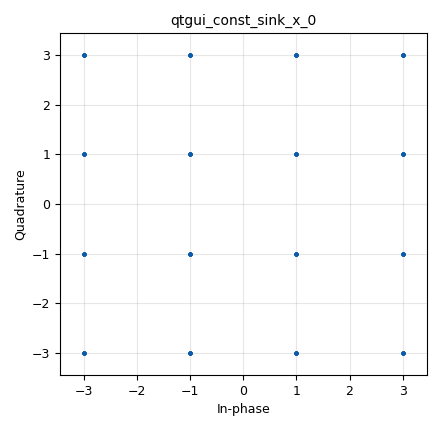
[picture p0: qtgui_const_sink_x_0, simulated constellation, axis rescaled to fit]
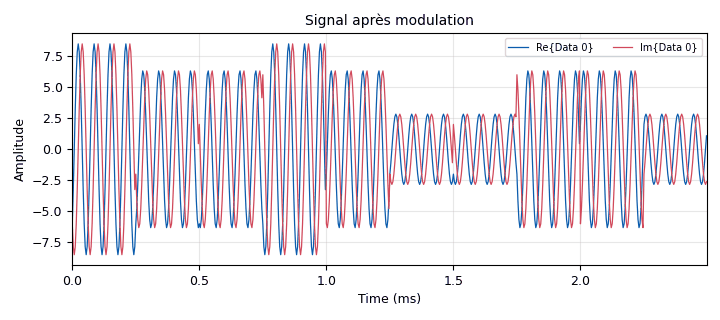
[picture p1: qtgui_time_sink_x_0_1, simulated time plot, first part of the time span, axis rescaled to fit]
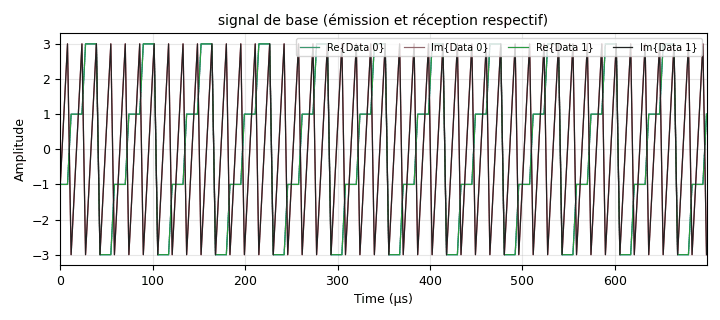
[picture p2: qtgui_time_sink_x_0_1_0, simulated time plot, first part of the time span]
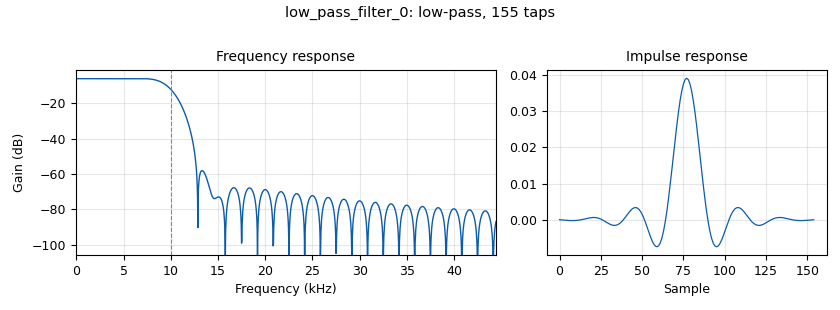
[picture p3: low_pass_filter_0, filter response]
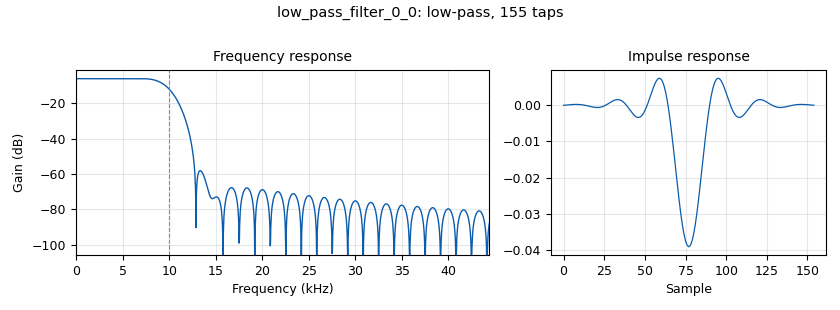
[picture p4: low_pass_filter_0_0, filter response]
options:
  parameters:
    generate_options: qt_gui
    id: QPSK
    output_language: python
    title: Not titled yet
  states: {}

blocks:
- name: Fc
  id: variable
  parameters:
    value: '16000'
  states: {}
- name: Fs
  id: variable
  parameters:
    value: 4 * Fc
  states: {}
- name: Rb
  id: variable
  parameters:
    value: '16000'
  states: {}
- name: samp_rate
  id: variable
  parameters:
    value: '256000'
  states: {}
- name: symbol_rate
  id: variable
  parameters:
    value: Rb / 4
  states: {}
- name: analog_sig_source_x_0
  id: analog_sig_source_x
  parameters:
    amp: '2'
    freq: Fc
    offset: '0'
    phase: '0'
    samp_rate: samp_rate
    type: complex
    waveform: analog.GR_COS_WAVE
  states: {}
- name: blocks_complex_to_float_0
  id: blocks_complex_to_float
  parameters: {}
  states: {}
- name: blocks_complex_to_float_2
  id: blocks_complex_to_float
  parameters: {}
  states: {}
- name: blocks_delay_0
  id: blocks_delay
  parameters:
    delay: '78'
    type: complex
  states: {}
- name: blocks_float_to_complex_0
  id: blocks_float_to_complex
  parameters: {}
  states: {}
- name: blocks_keep_one_in_n_0
  id: blocks_keep_one_in_n
  parameters:
    n: '64'
    type: complex
  states: {}
- name: blocks_keep_one_in_n_0_0
  id: blocks_keep_one_in_n
  parameters:
    n: '64'
    type: complex
  states: {}
- name: blocks_multiply_xx_0_1
  id: blocks_multiply_xx
  parameters:
    type: complex
  states: {}
- name: blocks_multiply_xx_0_1_0
  id: blocks_multiply_xx
  parameters:
    type: float
  states: {}
- name: blocks_multiply_xx_0_1_0_0
  id: blocks_multiply_xx
  parameters:
    type: float
  states: {}
- name: blocks_repeat_0
  id: blocks_repeat
  parameters:
    interp: int(samp_rate/symbol_rate)
    type: complex
  states: {}
- name: blocks_throttle2_0_0_1
  id: blocks_throttle2
  parameters:
    samples_per_second: samp_rate
    type: complex
  states: {}
- name: blocks_vector_source_x_0
  id: blocks_vector_source_x
  parameters:
    repeat: 'True'
    type: byte
    vector: list(range(16))
  states: {}
- name: epy_block_1
  id: epy_block
  parameters:
    _source_code: |-
      import numpy as np
      from gnuradio import gr

      class blk(gr.sync_block):
          def __init__(self):
              gr.sync_block.__init__(
                  self,
                  name='Mapping 16QAM',
                  in_sig=[np.uint8],
                  out_sig=[np.complex64],
              )
              niveaux = [-3, -1, 1, 3]
              # Table de 16 symboles complexes : I + jQ
              self.symboles = np.array(
                  [complex(i, q) for i in niveaux for q in niveaux],
                  dtype=np.complex64
              )

          def work(self, input_items, output_items):
              entiers = input_items[0]
              sortie = output_items[0]

              # Mapping vectorisé : chaque entier (0 à 15) indexe la table
              sortie[:] = self.symboles[entiers]

              return len(sortie)
  states: {}
- name: epy_block_1_0
  id: epy_block
  parameters:
    _source_code: |-
      import numpy as np
      from gnuradio import gr

      class blk(gr.sync_block):
          def __init__(self):
              gr.sync_block.__init__(
                  self,
                  name='16 QAM symbole plus proche',
                  in_sig=[np.complex64],
                  out_sig=[np.complex64],
              )
              niveaux = [-3, -1, 1, 3]   # même liste que le mapping
              self.symboles = np.array(
                  [complex(i, q) for i in niveaux for q in niveaux],
                  dtype=np.complex64
              )

          def work(self, input_items, output_items):
              x = input_items[0]
              d = np.abs(x[:, None] - self.symboles[None, :])
              output_items[0][:] = self.symboles[np.argmin(d, axis=1)]
              return len(output_items[0])
  states: {}
- name: low_pass_filter_0
  id: low_pass_filter
  parameters:
    cutoff_freq: '10000'
    gain: '0.5'
    interp: '1'
    samp_rate: samp_rate
    type: interp_fir_filter_fff
    width: '4000'
    win: window.WIN_HAMMING
  states: {}
- name: low_pass_filter_0_0
  id: low_pass_filter
  parameters:
    cutoff_freq: '10000'
    gain: '-0.5'
    interp: '1'
    samp_rate: samp_rate
    type: interp_fir_filter_fff
    width: '4000'
    win: window.WIN_HAMMING
  states: {}
- name: note_0
  id: note
  parameters:
    note: 4 périodes par symbole
  states: {}
- name: note_0_0
  id: note
  parameters:
    note: symbol_rate < Fc*2
  states: {}
- name: note_0_0_0
  id: note
  parameters:
    note: Rb = log2(2^M) * symbol_rate
  states: {}
- name: note_0_2
  id: note
  parameters:
    note: Fs > 2 * Fc
  states: {}
- name: qtgui_const_sink_x_0
  id: qtgui_const_sink_x
  parameters:
    size: '1024'
    type: complex
  states: {}
- name: qtgui_time_sink_x_0_1
  id: qtgui_time_sink_x
  parameters:
    name: Signal après modulation
    size: '8192'
    srate: samp_rate
    type: complex
    ymax: '2'
    ymin: '-2'
  states: {}
- name: qtgui_time_sink_x_0_1_0
  id: qtgui_time_sink_x
  parameters:
    autoscale: 'True'
    name: signal de base (émission et réception respectif)
    nconnections: '2'
    size: '8192'
    srate: samp_rate
    type: complex
    update_time: '1'
    ymax: '2'
    ymin: '-2'
  states: {}

connections:
- [analog_sig_source_x_0, '0', blocks_complex_to_float_2, '0']
- [analog_sig_source_x_0, '0', blocks_multiply_xx_0_1, '0']
- [blocks_complex_to_float_0, '0', blocks_multiply_xx_0_1_0, '1']
- [blocks_complex_to_float_0, '0', blocks_multiply_xx_0_1_0_0, '0']
- [blocks_complex_to_float_2, '0', blocks_multiply_xx_0_1_0, '0']
- [blocks_complex_to_float_2, '1', blocks_multiply_xx_0_1_0_0, '1']
- [blocks_delay_0, '0', blocks_keep_one_in_n_0_0, '0']
- [blocks_float_to_complex_0, '0', epy_block_1_0, '0']
- [blocks_keep_one_in_n_0, '0', qtgui_time_sink_x_0_1_0, '0']
- [blocks_keep_one_in_n_0_0, '0', qtgui_time_sink_x_0_1_0, '1']
- [blocks_multiply_xx_0_1, '0', blocks_complex_to_float_0, '0']
- [blocks_multiply_xx_0_1, '0', qtgui_time_sink_x_0_1, '0']
- [blocks_multiply_xx_0_1_0, '0', low_pass_filter_0, '0']
- [blocks_multiply_xx_0_1_0_0, '0', low_pass_filter_0_0, '0']
- [blocks_repeat_0, '0', blocks_throttle2_0_0_1, '0']
- [blocks_throttle2_0_0_1, '0', blocks_delay_0, '0']
- [blocks_throttle2_0_0_1, '0', blocks_multiply_xx_0_1, '1']
- [blocks_throttle2_0_0_1, '0', qtgui_const_sink_x_0, '0']
- [blocks_vector_source_x_0, '0', epy_block_1, '0']
- [epy_block_1, '0', blocks_repeat_0, '0']
- [epy_block_1_0, '0', blocks_keep_one_in_n_0, '0']
- [low_pass_filter_0, '0', blocks_float_to_complex_0, '0']
- [low_pass_filter_0_0, '0', blocks_float_to_complex_0, '1']

metadata:
  file_format: 1
  grc_version: 3.10.12.0
